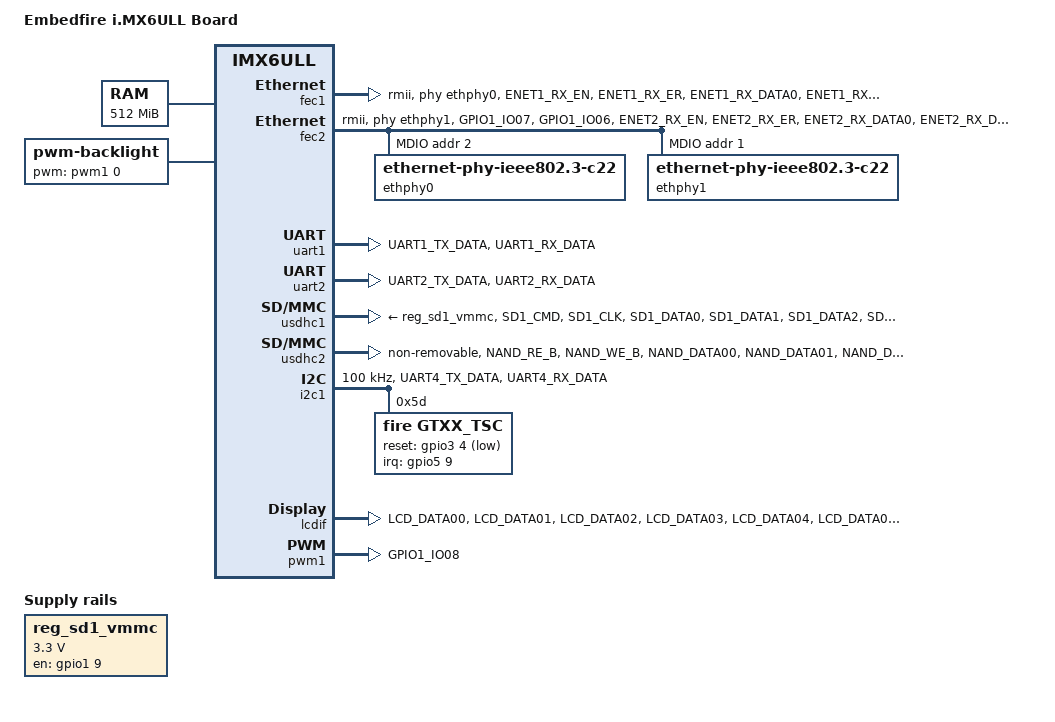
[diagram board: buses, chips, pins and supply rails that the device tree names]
/*
 * Copyright (C) 2016 Freescale Semiconductor, Inc.
 *
 * This program is free software; you can redistribute it and/or modify
 * it under the terms of the GNU General Public License version 2 as
 * published by the Free Software Foundation.
 */

/dts-v1/;

#include <dt-bindings/input/input.h>
#include "imx6ull.dtsi"

/ {
	model = "Embedfire i.MX6ULL Board";
	compatible = "fsl,imx6ull-14x14-evk", "fsl,imx6ull";

	aliases {
		pwm0 = &pwm1;
		pwm1 = &pwm2;
		pwm2 = &pwm3;
		pwm3 = &pwm4;
	};
	chosen {
		stdout-path = &uart1;
	};

	memory {
		reg = <0x80000000 0x20000000>;
	};

	reserved-memory {
		#address-cells = <1>;
		#size-cells = <1>;
		ranges;

		linux,cma {
			compatible = "shared-dma-pool";
			reusable;
			size = <0x14000000>;
			linux,cma-default;
		};
	};

	regulators {
		compatible = "simple-bus";
		#address-cells = <1>;
		#size-cells = <0>;


		reg_sd1_vmmc: regulator@1 {
			compatible = "regulator-fixed";
			regulator-name = "VSD_3V3";
			regulator-min-microvolt = <3300000>;
			regulator-max-microvolt = <3300000>;
			gpio = <&gpio1 9 GPIO_ACTIVE_HIGH>;
			off-on-delay = <20000>;
			enable-active-high;
		};
	};


	// red_led_pwm {
	// 	compatible = "red_led_pwm";
	// 	pinctrl-names = "default";
	// 	pinctrl-0 = <&red_led_pwm>;

	// 	front {
	// 		pwm-names = "red_led_pwm3";
	// 		label = "imx6_red_led_pwm";
	// 		pwms = <&pwm3 0 50000>;
	// 	};
	// };


	backlight {
		compatible = "pwm-backlight";   
		pwms = <&pwm1 0 5000000>;
		brightness-levels = <0 4 8 16 32 64 128 255>;
		default-brightness-level = <6>;
		status = "okay";
	};
};




&cpu0 {
	/*dc-supply = <&reg_gpio_dvfs>;*/
	clock-frequency = <800000000>;
};

&clks {
	assigned-clocks = <&clks IMX6UL_CLK_PLL4_AUDIO_DIV>;
	assigned-clock-rates = <786432000>;
};


&fec1 {
	pinctrl-names = "default";
	pinctrl-0 = <&pinctrl_enet1>;
	phy-mode = "rmii";
	phy-handle = <&ethphy0>;
	status = "okay";
};

&fec2 {
	pinctrl-names = "default";
	pinctrl-0 = <&pinctrl_enet2>;
	phy-mode = "rmii";
	phy-handle = <&ethphy1>;
	status = "okay";

	mdio {
		#address-cells = <1>;
		#size-cells = <0>;

		ethphy0: ethernet-phy@2 {
			compatible = "ethernet-phy-ieee802.3-c22";
			reg = <2>;
			micrel,led-mode = <1>;
			clocks = <&clks IMX6UL_CLK_ENET_REF>;
			clock-names = "rmii-ref";
		};

		ethphy1: ethernet-phy@1 {
			compatible = "ethernet-phy-ieee802.3-c22";
			reg = <1>;
			micrel,led-mode = <1>;
			clocks = <&clks IMX6UL_CLK_ENET2_REF>;
			clock-names = "rmii-ref";
		};
	};
};




&gpc {
	fsl,cpu_pupscr_sw2iso = <0xf>;
	fsl,cpu_pupscr_sw = <0x0>;
	fsl,cpu_pdnscr_iso2sw = <0x1>;
	fsl,cpu_pdnscr_iso = <0x1>;
	fsl,ldo-bypass = <0>; /* DCDC, ldo-enable */
};


&iomuxc {
	pinctrl-names = "default";
	pinctrl-0 = <&pinctrl_hog_1>;

	pinctrl_gpmi_nand: gpmi-nand {
			fsl,pins = <
				MX6UL_PAD_NAND_CLE__RAWNAND_CLE         0xb0b1
				MX6UL_PAD_NAND_ALE__RAWNAND_ALE         0xb0b1
				MX6UL_PAD_NAND_WP_B__RAWNAND_WP_B       0xb0b1
				MX6UL_PAD_NAND_READY_B__RAWNAND_READY_B 0xb000
				MX6UL_PAD_NAND_CE0_B__RAWNAND_CE0_B     0xb0b1
				MX6UL_PAD_NAND_CE1_B__RAWNAND_CE1_B     0xb0b1
				MX6UL_PAD_NAND_RE_B__RAWNAND_RE_B       0xb0b1
				MX6UL_PAD_NAND_WE_B__RAWNAND_WE_B       0xb0b1
				MX6UL_PAD_NAND_DATA00__RAWNAND_DATA00   0xb0b1
				MX6UL_PAD_NAND_DATA01__RAWNAND_DATA01   0xb0b1
				MX6UL_PAD_NAND_DATA02__RAWNAND_DATA02   0xb0b1
				MX6UL_PAD_NAND_DATA03__RAWNAND_DATA03   0xb0b1
				MX6UL_PAD_NAND_DATA04__RAWNAND_DATA04   0xb0b1
				MX6UL_PAD_NAND_DATA05__RAWNAND_DATA05   0xb0b1
				MX6UL_PAD_NAND_DATA06__RAWNAND_DATA06   0xb0b1
				MX6UL_PAD_NAND_DATA07__RAWNAND_DATA07   0xb0b1
			>;
		};

	pinctrl_hog_1: hoggrp-1 {
		fsl,pins = <
			MX6UL_PAD_UART1_RTS_B__GPIO1_IO19	0x17059 /* SD1 CD */
			MX6UL_PAD_GPIO1_IO05__USDHC1_VSELECT	0x17059 /* SD1 VSELECT */
			MX6UL_PAD_GPIO1_IO09__GPIO1_IO09        0x17059 /* SD1 RESET */
		>;
	};

	pinctrl_enet1: enet1grp {
		fsl,pins = <
			MX6UL_PAD_ENET1_RX_EN__ENET1_RX_EN	0x1b0b0
			MX6UL_PAD_ENET1_RX_ER__ENET1_RX_ER	0x1b0b0
			MX6UL_PAD_ENET1_RX_DATA0__ENET1_RDATA00	0x1b0b0
			MX6UL_PAD_ENET1_RX_DATA1__ENET1_RDATA01	0x1b0b0
			MX6UL_PAD_ENET1_TX_EN__ENET1_TX_EN	0x1b0b0
			MX6UL_PAD_ENET1_TX_DATA0__ENET1_TDATA00	0x1b0b0
			MX6UL_PAD_ENET1_TX_DATA1__ENET1_TDATA01	0x1b0b0
			MX6UL_PAD_ENET1_TX_CLK__ENET1_REF_CLK1	0x4001b031
		>;
	};

	pinctrl_enet2: enet2grp {
		fsl,pins = <
			MX6UL_PAD_GPIO1_IO07__ENET2_MDC		0x1b0b0
			MX6UL_PAD_GPIO1_IO06__ENET2_MDIO	0x1b0b0
			MX6UL_PAD_ENET2_RX_EN__ENET2_RX_EN	0x1b0b0
			MX6UL_PAD_ENET2_RX_ER__ENET2_RX_ER	0x1b0b0
			MX6UL_PAD_ENET2_RX_DATA0__ENET2_RDATA00	0x1b0b0
			MX6UL_PAD_ENET2_RX_DATA1__ENET2_RDATA01	0x1b0b0
			MX6UL_PAD_ENET2_TX_EN__ENET2_TX_EN	0x1b0b0
			MX6UL_PAD_ENET2_TX_DATA0__ENET2_TDATA00	0x1b0b0
			MX6UL_PAD_ENET2_TX_DATA1__ENET2_TDATA01	0x1b0b0
			MX6UL_PAD_ENET2_TX_CLK__ENET2_REF_CLK2	0x4001b031
		>;
	};

	pinctrl_uart1: uart1grp {
		fsl,pins = <
			MX6UL_PAD_UART1_TX_DATA__UART1_DCE_TX 0x1b0b1
			MX6UL_PAD_UART1_RX_DATA__UART1_DCE_RX 0x1b0b1
		>;
	};

	pinctrl_uart2: uart2grp {
		fsl,pins = <
			MX6UL_PAD_UART2_TX_DATA__UART2_DCE_TX	0x1b0b1
			MX6UL_PAD_UART2_RX_DATA__UART2_DCE_RX	0x1b0b1     
		>;
	};



	pinctrl_usdhc1: usdhc1grp {
		fsl,pins = <
			MX6UL_PAD_SD1_CMD__USDHC1_CMD     0x17059
			MX6UL_PAD_SD1_CLK__USDHC1_CLK     0x10071
			MX6UL_PAD_SD1_DATA0__USDHC1_DATA0 0x17059
			MX6UL_PAD_SD1_DATA1__USDHC1_DATA1 0x17059
			MX6UL_PAD_SD1_DATA2__USDHC1_DATA2 0x17059
			MX6UL_PAD_SD1_DATA3__USDHC1_DATA3 0x17059
		>;
	};

	pinctrl_usdhc1_100mhz: usdhc1grp100mhz {
		fsl,pins = <
			MX6UL_PAD_SD1_CMD__USDHC1_CMD     0x170b9
			MX6UL_PAD_SD1_CLK__USDHC1_CLK     0x100b9
			MX6UL_PAD_SD1_DATA0__USDHC1_DATA0 0x170b9
			MX6UL_PAD_SD1_DATA1__USDHC1_DATA1 0x170b9
			MX6UL_PAD_SD1_DATA2__USDHC1_DATA2 0x170b9
			MX6UL_PAD_SD1_DATA3__USDHC1_DATA3 0x170b9
		>;
	};

	pinctrl_usdhc1_200mhz: usdhc1grp200mhz {
		fsl,pins = <
			MX6UL_PAD_SD1_CMD__USDHC1_CMD     0x170f9
			MX6UL_PAD_SD1_CLK__USDHC1_CLK     0x100f9
			MX6UL_PAD_SD1_DATA0__USDHC1_DATA0 0x170f9
			MX6UL_PAD_SD1_DATA1__USDHC1_DATA1 0x170f9
			MX6UL_PAD_SD1_DATA2__USDHC1_DATA2 0x170f9
			MX6UL_PAD_SD1_DATA3__USDHC1_DATA3 0x170f9
		>;
	};

	pinctrl_usdhc2: usdhc2grp {
		fsl,pins = <
			MX6UL_PAD_NAND_RE_B__USDHC2_CLK     0x10069
			MX6UL_PAD_NAND_WE_B__USDHC2_CMD     0x17059
			MX6UL_PAD_NAND_DATA00__USDHC2_DATA0 0x17059
			MX6UL_PAD_NAND_DATA01__USDHC2_DATA1 0x17059
			MX6UL_PAD_NAND_DATA02__USDHC2_DATA2 0x17059
			MX6UL_PAD_NAND_DATA03__USDHC2_DATA3 0x17059
		>;
	};

	pinctrl_usdhc2_8bit: usdhc2grp_8bit {
		fsl,pins = <
			MX6UL_PAD_NAND_RE_B__USDHC2_CLK     0x10069
			MX6UL_PAD_NAND_WE_B__USDHC2_CMD     0x17059
			MX6UL_PAD_NAND_DATA00__USDHC2_DATA0 0x17059
			MX6UL_PAD_NAND_DATA01__USDHC2_DATA1 0x17059
			MX6UL_PAD_NAND_DATA02__USDHC2_DATA2 0x17059
			MX6UL_PAD_NAND_DATA03__USDHC2_DATA3 0x17059
			MX6UL_PAD_NAND_DATA04__USDHC2_DATA4 0x17059
			MX6UL_PAD_NAND_DATA05__USDHC2_DATA5 0x17059
			MX6UL_PAD_NAND_DATA06__USDHC2_DATA6 0x17059
			MX6UL_PAD_NAND_DATA07__USDHC2_DATA7 0x17059
		>;
	};

	pinctrl_usdhc2_8bit_100mhz: usdhc2grp_8bit_100mhz {
		fsl,pins = <
			MX6UL_PAD_NAND_RE_B__USDHC2_CLK     0x100b9
			MX6UL_PAD_NAND_WE_B__USDHC2_CMD     0x170b9
			MX6UL_PAD_NAND_DATA00__USDHC2_DATA0 0x170b9
			MX6UL_PAD_NAND_DATA01__USDHC2_DATA1 0x170b9
			MX6UL_PAD_NAND_DATA02__USDHC2_DATA2 0x170b9
			MX6UL_PAD_NAND_DATA03__USDHC2_DATA3 0x170b9
			MX6UL_PAD_NAND_DATA04__USDHC2_DATA4 0x170b9
			MX6UL_PAD_NAND_DATA05__USDHC2_DATA5 0x170b9
			MX6UL_PAD_NAND_DATA06__USDHC2_DATA6 0x170b9
			MX6UL_PAD_NAND_DATA07__USDHC2_DATA7 0x170b9
		>;
	};

	pinctrl_usdhc2_8bit_200mhz: usdhc2grp_8bit_200mhz {
		fsl,pins = <
			MX6UL_PAD_NAND_RE_B__USDHC2_CLK     0x100f9
			MX6UL_PAD_NAND_WE_B__USDHC2_CMD     0x170f9
			MX6UL_PAD_NAND_DATA00__USDHC2_DATA0 0x170f9
			MX6UL_PAD_NAND_DATA01__USDHC2_DATA1 0x170f9
			MX6UL_PAD_NAND_DATA02__USDHC2_DATA2 0x170f9
			MX6UL_PAD_NAND_DATA03__USDHC2_DATA3 0x170f9
			MX6UL_PAD_NAND_DATA04__USDHC2_DATA4 0x170f9
			MX6UL_PAD_NAND_DATA05__USDHC2_DATA5 0x170f9
			MX6UL_PAD_NAND_DATA06__USDHC2_DATA6 0x170f9
			MX6UL_PAD_NAND_DATA07__USDHC2_DATA7 0x170f9
		>;
	};
	pinctrl_led: ledgrp {
			fsl,pins = <
				MX6ULL_PAD_SNVS_TAMPER3__GPIO5_IO03 0x1b0b0
			>;
	};

	pinctrl_ecspi1: ecspi1grp {
		fsl,pins = <
			MX6UL_PAD_CSI_DATA07__ECSPI1_MISO  0x10b0
			MX6UL_PAD_CSI_DATA06__ECSPI1_MOSI  0x10b0
			MX6UL_PAD_CSI_DATA04__ECSPI1_SCLK  0x10b0
			MX6UL_PAD_CSI_DATA05__ECSPI1_SS0   0x10b0
			MX6UL_PAD_CSI_DATA03__GPIO4_IO24   0x10b0
		>;
	};

	pinctrl_button: buttongrp {
		fsl,pins = <
			MX6UL_PAD_SNVS_TAMPER1__GPIO5_IO01  0x10b0
		>;
	};

	pinctrl_i2c1: i2c1grp {
		fsl,pins = <
			MX6UL_PAD_UART4_TX_DATA__I2C1_SCL 0x4001b8b0
			MX6UL_PAD_UART4_RX_DATA__I2C1_SDA 0x4001b8b0
		>;
	};

	pinctrl_tsc_reset: tscresetgrp {
	    fsl,pins = <
	        /* used for tsc reset */
	        MX6UL_PAD_LCD_RESET__GPIO3_IO04		0x10b0
	    >;
	};


	pinctrl_lcdif_ctrl: lcdifctrlgrp {
    	fsl,pins = <
    	    MX6UL_PAD_LCD_CLK__LCDIF_CLK	    0x79
    	    MX6UL_PAD_LCD_ENABLE__LCDIF_ENABLE  0x79
    	    MX6UL_PAD_LCD_HSYNC__LCDIF_HSYNC    0x79
    	    MX6UL_PAD_LCD_VSYNC__LCDIF_VSYNC    0x79
    	>;
	};

	pinctrl_lcdif_dat: lcdifdatgrp {
	    fsl,pins = <
	        MX6UL_PAD_LCD_DATA00__LCDIF_DATA00  0x79
	        MX6UL_PAD_LCD_DATA01__LCDIF_DATA01  0x79
	        MX6UL_PAD_LCD_DATA02__LCDIF_DATA02  0x79
	        MX6UL_PAD_LCD_DATA03__LCDIF_DATA03  0x79
	        MX6UL_PAD_LCD_DATA04__LCDIF_DATA04  0x79
	        MX6UL_PAD_LCD_DATA05__LCDIF_DATA05  0x79
	        MX6UL_PAD_LCD_DATA06__LCDIF_DATA06  0x79
	        MX6UL_PAD_LCD_DATA07__LCDIF_DATA07  0x79
	        MX6UL_PAD_LCD_DATA08__LCDIF_DATA08  0x79
	        MX6UL_PAD_LCD_DATA09__LCDIF_DATA09  0x79
	        MX6UL_PAD_LCD_DATA10__LCDIF_DATA10  0x79
	        MX6UL_PAD_LCD_DATA11__LCDIF_DATA11  0x79
	        MX6UL_PAD_LCD_DATA12__LCDIF_DATA12  0x79
	        MX6UL_PAD_LCD_DATA13__LCDIF_DATA13  0x79
	        MX6UL_PAD_LCD_DATA14__LCDIF_DATA14  0x79
	        MX6UL_PAD_LCD_DATA15__LCDIF_DATA15  0x79
	        MX6UL_PAD_LCD_DATA16__LCDIF_DATA16  0x79
	        MX6UL_PAD_LCD_DATA17__LCDIF_DATA17  0x79
	        MX6UL_PAD_LCD_DATA18__LCDIF_DATA18  0x79
	        MX6UL_PAD_LCD_DATA19__LCDIF_DATA19  0x79
	        MX6UL_PAD_LCD_DATA20__LCDIF_DATA20  0x79
	        MX6UL_PAD_LCD_DATA21__LCDIF_DATA21  0x79
	        MX6UL_PAD_LCD_DATA22__LCDIF_DATA22  0x79
	        MX6UL_PAD_LCD_DATA23__LCDIF_DATA23  0x79
	    >;
	};

	pinctrl_pwm1: pwm1grp {
		fsl,pins = <
			MX6UL_PAD_GPIO1_IO08__PWM1_OUT  0x1b0b0
		>;
	};
};



&iomuxc_snvs {
	// pinctrl-names = "default_snvs";
	// pinctrl-1 = <&pinctrl_tsc_irq>;
	pinctrl_tsc_irq: tsc_irq {
	    fsl,pins = <
	        MX6ULL_PAD_SNVS_TAMPER9__GPIO5_IO09        0x4001b8b0   
	    >;
	};
};





&uart1 {
	pinctrl-names = "default";
	pinctrl-0 = <&pinctrl_uart1>;
	status = "okay";
};

&uart2 {
	pinctrl-names = "default";
	pinctrl-0 = <&pinctrl_uart2>;
	status = "okay";
};




&usdhc1 {
	pinctrl-names = "default", "state_100mhz", "state_200mhz";
	pinctrl-0 = <&pinctrl_usdhc1>;
	pinctrl-1 = <&pinctrl_usdhc1_100mhz>;
	pinctrl-2 = <&pinctrl_usdhc1_200mhz>;
	no-1-8-v;
	/*cd-gpios = <&gpio1 19 GPIO_ACTIVE_LOW>;*/
	keep-power-in-suspend;
	/*non-removable;*/
	enable-sdio-wakeup;
	vmmc-supply = <&reg_sd1_vmmc>;
	status = "okay";
};

&usdhc2 {
	pinctrl-names = "default";
	pinctrl-0 = <&pinctrl_usdhc2_8bit>;
	non-removable;
	status = "okay";
};


&i2c1 {
	clock-frequency = <100000>;
	pinctrl-names = "default";
	pinctrl-0 = <&pinctrl_i2c1>;
	status = "okay";

	gtxx_tsc@5d {
		compatible = "fire,gtxx_tsc";
		pinctrl-0 = <&pinctrl_tsc_reset>;
		pinctrl-1 = <&pinctrl_tsc_irq>;
		reg = <0x5d>;
		status = "okay";

		/*gpio*/
		reset-gpios = <&gpio3 4 GPIO_ACTIVE_LOW>;
		irq-gpios = <&gpio5 9 GPIO_ACTIVE_HIGH>;

		/*中断*/
		interrupt-parent = <&gpio5>;
		interrupts = <9 IRQ_TYPE_EDGE_FALLING>;
		irq-flags = <2>;		/*1:rising 2: falling*/	   
	};
};


//(n-1)/32 + M = 


// pinctrl_tsc_reset: tscresetgrp {
//                     fsl,pins = <
//                         /* used for tsc reset */
//                         MX6UL_PAD_LCD_RESET__GPIO3_IO04		0x05
//                     >;
//                 };

// pinctrl_tsc_irq: tsc_irq {
//     fsl,pins = <
//         MX6ULL_PAD_SNVS_TAMPER9__GPIO5_IO09        0x4001b8b0
//     >;
// };





//elcdf 节点

&lcdif {
	pinctrl-names = "default";
	pinctrl-0 = <&pinctrl_lcdif_dat &pinctrl_lcdif_ctrl>;
	display = <&display0>;
	status = "okay";

	display0: display {
	bits-per-pixel = <24>;
	bus-width = <24>;
		display-timings {
			native-mode = <&timing1>;
			timing1: timing1 {
    	        mode_name = "TFT50AB";
    	        clock-frequency = <27000000>;
    	        hactive = <800>;
    	        vactive = <480>;
    	        hfront-porch = <23>;
    	        hback-porch = <46>;
    	        hsync-len = <1>;
    	        vback-porch = <22>;
    	        vfront-porch = <22>;
    	        vsync-len = <1>;
	
    	        hsync-active = <0>;
    	        vsync-active = <0>;
    	        de-active = <1>;
    	        pixelclk-active = <0>;
			};
		};
	};
};

&pwm1 {
	pinctrl-names = "default";
	pinctrl-0 = <&pinctrl_pwm1>;
	status = "okay";
};

